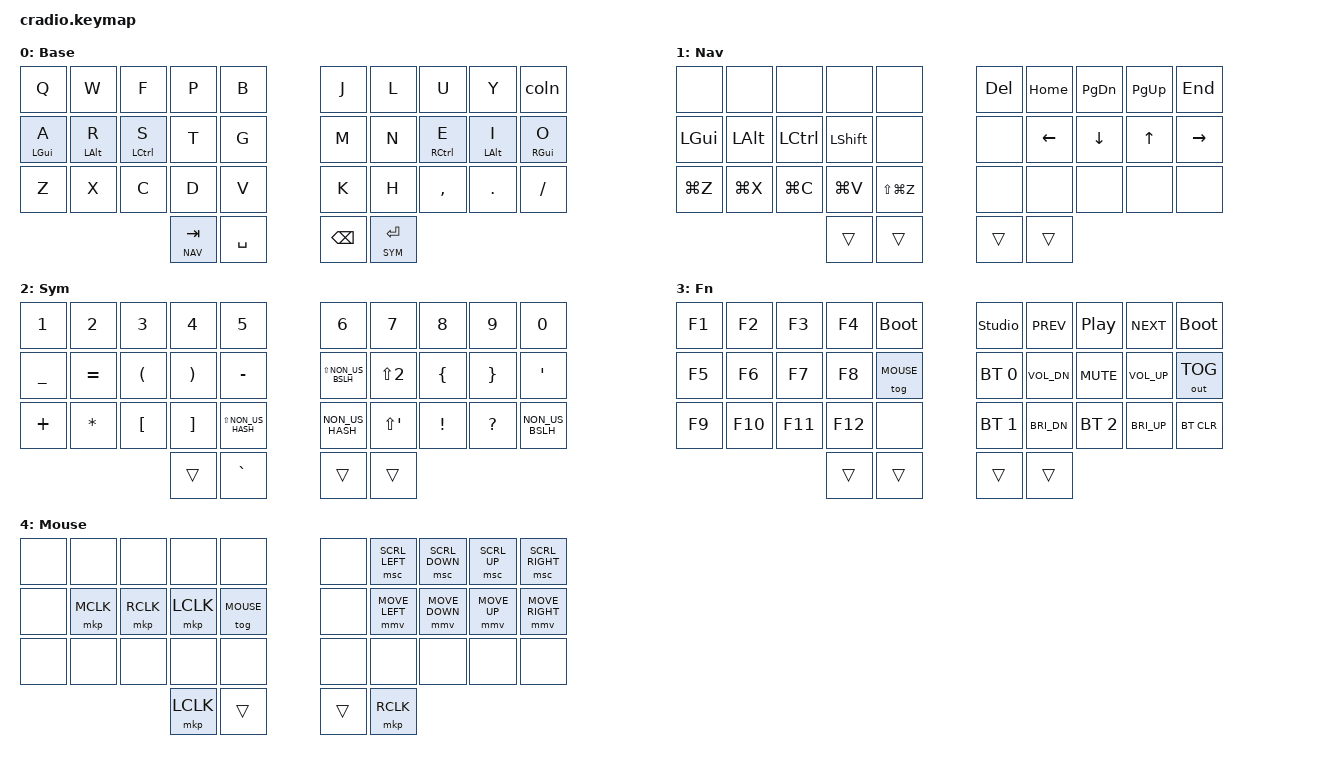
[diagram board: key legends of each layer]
// Sweep Bling LP (cradio) — Colemak-DH, home row mods, macOS "British – PC" input source.
// Ported from the crkbd/r2g cellularegg QMK keymap (3x6+3 -> 3x5+2).
//
// Key positions (used by combos and hold-trigger-key-positions):
//    0  1  2  3  4     5  6  7  8  9
//   10 11 12 13 14    15 16 17 18 19
//   20 21 22 23 24    25 26 27 28 29
//            30 31    32 33

#include <behaviors.dtsi>
#include <dt-bindings/zmk/keys.h>
#include <dt-bindings/zmk/bt.h>
#include <dt-bindings/zmk/outputs.h>
#include <dt-bindings/zmk/pointing.h>

#define BASE  0
#define NAV   1
#define SYM   2
#define FN    3
#define MOUSE 4

// UK keycodes on a macOS "British – PC" input source (ZMK sends US HID usages).
#define UK_DQUO LS(N2)
#define UK_AT   LS(SQT)
#define UK_HASH NON_US_HASH
#define UK_TILD LS(NON_US_HASH)
#define UK_BSLS NON_US_BSLH
#define UK_PIPE LS(NON_US_BSLH)

// macOS editing shortcuts
#define C_UNDO LG(Z)
#define C_CUT  LG(X)
#define C_COPY LG(C)
#define C_PSTE LG(V)
#define C_REDO LS(LG(Z))

#define KEYS_L 0 1 2 3 4 10 11 12 13 14 20 21 22 23 24
#define KEYS_R 5 6 7 8 9 15 16 17 18 19 25 26 27 28 29
#define THUMBS 30 31 32 33

/ {
    behaviors {
        // Home row mods (Cmd/Alt/Ctrl only; Shift is on combos). Equivalent of the QMK settings:
        //   TAPPING_TERM 200, PERMISSIVE_HOLD (balanced), QUICK_TAP_TERM 120,
        //   FLOW_TAP_TERM 150 (require-prior-idle), CHORDAL_HOLD (hold-trigger positions:
        //   only opposite hand + thumbs resolve a hold).
        hml: home_row_mod_left {
            compatible = "zmk,behavior-hold-tap";
            #binding-cells = <2>;
            flavor = "balanced";
            tapping-term-ms = <200>;
            quick-tap-ms = <120>;
            require-prior-idle-ms = <150>;
            hold-trigger-key-positions = <KEYS_R THUMBS>;
            hold-trigger-on-release;
            bindings = <&kp>, <&kp>;
        };
        hmr: home_row_mod_right {
            compatible = "zmk,behavior-hold-tap";
            #binding-cells = <2>;
            flavor = "balanced";
            tapping-term-ms = <200>;
            quick-tap-ms = <120>;
            require-prior-idle-ms = <150>;
            hold-trigger-key-positions = <KEYS_L THUMBS>;
            hold-trigger-on-release;
            bindings = <&kp>, <&kp>;
        };

        // Thumb layer-taps (tap = Tab/Enter, hold = Nav/Sym). "balanced" so a fast
        // Nav+arrow resolves as the layer instead of Tab + letter. Backspace is a plain
        // key on the right inner thumb so holding it repeats; Enter/Sym is the right outer thumb.
        lt_th: thumb_layer_tap {
            compatible = "zmk,behavior-hold-tap";
            #binding-cells = <2>;
            flavor = "balanced";
            tapping-term-ms = <200>;
            quick-tap-ms = <150>;
            bindings = <&mo>, <&kp>;
        };

        // Tap = ':'  Shift+tap = ';'  (QMK key override)
        coln: colon_semicolon {
            compatible = "zmk,behavior-mod-morph";
            #binding-cells = <0>;
            bindings = <&kp COLON>, <&kp SEMI>;
            mods = <(MOD_LSFT|MOD_RSFT)>;
        };
    };

    combos {
        compatible = "zmk,combos";
        // Shift: tap = sticky (next key shifted), hold = normal Shift.
        // Both keys are under the same index finger, so typing rolls can't trigger them.
        combo_shift_left {
            timeout-ms = <30>;
            key-positions = <13 14>;    // T + G
            bindings = <&sk LSHFT>;
            layers = <BASE NAV SYM>;
        };
        combo_shift_right {
            timeout-ms = <30>;
            key-positions = <15 16>;    // M + N
            bindings = <&sk RSHFT>;
            layers = <BASE NAV SYM>;
        };
        combo_esc {
            timeout-ms = <30>;
            key-positions = <1 2>;      // W + F
            bindings = <&kp ESC>;
            layers = <BASE>;
        };
        combo_unds {
            timeout-ms = <30>;
            key-positions = <26 27>;    // H + ,
            bindings = <&kp UNDER>;
            layers = <BASE>;
        };
        combo_caps_word {
            timeout-ms = <30>;
            key-positions = <21 22>;    // X + C
            bindings = <&caps_word>;
            layers = <BASE>;
        };
        combo_del_word {
            timeout-ms = <30>;
            key-positions = <7 8>;      // U + Y
            bindings = <&kp LA(BSPC)>;
            layers = <BASE>;
        };
    };

    conditional_layers {
        compatible = "zmk,conditional-layers";
        tri_layer {
            if-layers = <NAV SYM>;
            then-layer = <FN>;
        };
    };

    keymap {
        compatible = "zmk,keymap";

        base {
            display-name = "Base";
            bindings = <
    &kp Q        &kp W        &kp F         &kp P         &kp B    &kp J   &kp L         &kp U         &kp Y        &coln
    &hml LGUI A  &hml LALT R  &hml LCTRL S  &kp T         &kp G    &kp M    &kp N         &hmr RCTRL E  &hmr LALT I  &hmr RGUI O
    &kp Z        &kp X        &kp C         &kp D         &kp V    &kp K    &kp H         &kp COMMA     &kp DOT      &kp FSLH
                                            &lt_th NAV TAB &kp SPACE        &kp BSPC       &lt_th SYM RET
            >;
        };

        nav {
            display-name = "Nav";
            bindings = <
    &none      &none      &none      &none       &none       &kp DEL  &kp HOME  &kp PG_DN  &kp PG_UP  &kp END
    &kp LGUI   &kp LALT   &kp LCTRL  &kp LSHFT   &none       &none    &kp LEFT  &kp DOWN   &kp UP     &kp RIGHT
    &kp C_UNDO &kp C_CUT  &kp C_COPY &kp C_PSTE  &kp C_REDO  &none    &none     &none      &none      &none
                                     &trans      &trans               &trans    &trans
            >;
        };

        sym {
            display-name = "Sym";
            bindings = <
    &kp N1     &kp N2     &kp N3     &kp N4     &kp N5      &kp N6       &kp N7       &kp N8     &kp N9     &kp N0
    &kp UNDER  &kp EQUAL  &kp LPAR   &kp RPAR   &kp MINUS   &kp UK_PIPE  &kp UK_DQUO  &kp LBRC   &kp RBRC   &kp SQT
    &kp PLUS   &kp STAR   &kp LBKT   &kp RBKT   &kp UK_TILD &kp UK_HASH  &kp UK_AT    &kp EXCL   &kp QMARK  &kp UK_BSLS
                                     &trans     &kp GRAVE                &trans       &trans
            >;
        };

        fn {
            display-name = "Fn";
            bindings = <
    &kp F1     &kp F2     &kp F3     &kp F4     &bootloader  &studio_unlock  &kp C_PREV    &kp C_PP        &kp C_NEXT    &bootloader
    &kp F5     &kp F6     &kp F7     &kp F8     &tog MOUSE   &bt BT_SEL 0    &kp C_VOL_DN  &kp C_MUTE      &kp C_VOL_UP  &out OUT_TOG
    &kp F9     &kp F10    &kp F11    &kp F12    &none        &bt BT_SEL 1    &kp C_BRI_DN  &bt BT_SEL 2    &kp C_BRI_UP  &bt BT_CLR
                                     &trans     &trans                       &trans        &trans
            >;
        };

        mouse {
            display-name = "Mouse";
            bindings = <
    &none      &none      &none      &none      &none        &none    &msc SCRL_LEFT  &msc SCRL_DOWN  &msc SCRL_UP  &msc SCRL_RIGHT
    &none      &mkp MCLK  &mkp RCLK  &mkp LCLK  &tog MOUSE   &none    &mmv MOVE_LEFT  &mmv MOVE_DOWN  &mmv MOVE_UP  &mmv MOVE_RIGHT
    &none      &none      &none      &none      &none        &none    &none           &none           &none         &none
                                     &mkp LCLK  &trans                &trans          &mkp RCLK
            >;
        };
    };
};
